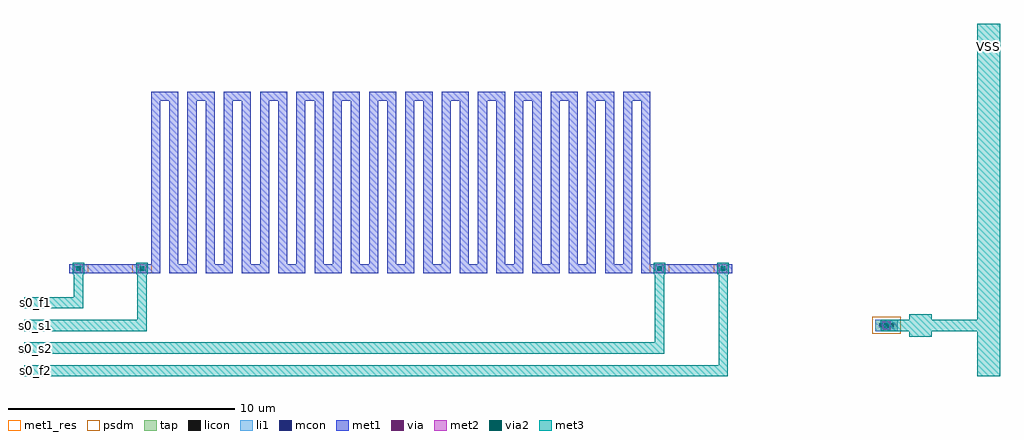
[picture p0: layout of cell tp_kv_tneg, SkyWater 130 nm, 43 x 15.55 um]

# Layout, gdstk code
import gdstk
lib = gdstk.Library(unit=1e-6, precision=1e-09)
def R(c, l, rs):  # rectangles x0, y0, x1, y1
    for r in rs: c.add(gdstk.rectangle(r[:2], r[2:], *l))
def A(c, l, x, y, w, h, nx, ny, dx, dy):  # array of equal rectangles
    R(c, l, [(x+i*dx, y+j*dy, x+i*dx+w, y+j*dy+h) for i in range(nx) for j in range(ny)])
tap = (65, 44)
licon = (66, 44)
li1 = (67, 20)
mcon = (67, 44)
met1_res = (68, 13)
met1 = (68, 20)
via = (68, 44)
met2 = (69, 20)
via2 = (69, 44)
met3 = (70, 20)
psdm = (94, 20)

tp_kv_m1_l = lib.new_cell('tp_kv_m1_l')
R(tp_kv_m1_l, tap, [(37.5,2,38.5,2.5)])
R(tp_kv_m1_l, licon, [(37.675,2.165,37.845,2.335), (38.155,2.165,38.325,2.335)])
R(tp_kv_m1_l, li1, [(37.5,2,38.5,2.5), (37.875,2.125,38.125,2.375)])
R(tp_kv_m1_l, mcon, [(37.915,2.165,38.085,2.335)])
A(tp_kv_m1_l, met1_res, 5.6, 4.55, 0.4, 8, 28, 1, 0.8, 0)
A(tp_kv_m1_l, met1_res, 6.8, 4.55, 0.4, 0.4, 13, 1, 1.6, 0)
A(tp_kv_m1_l, met1_res, 6, 12.15, 0.4, 0.4, 14, 1, 1.6, 0)
R(tp_kv_m1_l, met1_res, [(2.8,4.55,4.8,4.95), (28.4,4.55,30.4,4.95)])
A(tp_kv_m1_l, met1, 5.6, 4.55, 0.4, 8, 28, 1, 0.8, 0)
A(tp_kv_m1_l, met1, 6.8, 4.55, 0.4, 0.4, 13, 1, 1.6, 0)
A(tp_kv_m1_l, met1, 6, 12.15, 0.4, 0.4, 14, 1, 1.6, 0)
R(tp_kv_m1_l, met1, [(37.84,2.09,38.16,2.41), (37.85,2.1,38.15,2.4), (2,4.55,2.8,4.95), (2.8,4.55,4.8,4.95), (4.8,4.55,5.6,4.95), (27.6,4.55,28.4,4.95), (28.4,4.55,30.4,4.95), (30.4,4.55,31.2,4.95), (2.24,4.59,2.56,4.91), (5.04,4.59,5.36,4.91), (27.84,4.59,28.16,4.91), (30.64,4.59,30.96,4.91)])
R(tp_kv_m1_l, via, [(37.925,2.175,38.075,2.325), (2.325,4.675,2.475,4.825), (5.125,4.675,5.275,4.825), (27.925,4.675,28.075,4.825), (30.725,4.675,30.875,4.825)])
R(tp_kv_m1_l, met2, [(37.815,2.065,38.185,2.435), (37.84,2.09,38.16,2.41), (2.215,4.565,2.585,4.935), (5.015,4.565,5.385,4.935), (27.815,4.565,28.185,4.935), (30.615,4.565,30.985,4.935), (2.24,4.59,2.56,4.91), (5.04,4.59,5.36,4.91), (27.84,4.59,28.16,4.91), (30.64,4.59,30.96,4.91)])
R(tp_kv_m1_l, via2, [(37.9,2.15,38.1,2.35), (2.3,4.65,2.5,4.85), (5.1,4.65,5.3,4.85), (27.9,4.65,28.1,4.85), (30.7,4.65,30.9,4.85)])
A(tp_kv_m1_l, met3, 0, 0, 1, 0.5, 1, 4, 0, 1)
R(tp_kv_m1_l, met3, [(0,0,31,0.5), (30.6,0,31,4.75), (0,1,28.2,1.5), (27.8,1,28.2,4.75), (39,1.75,40,2.75), (0,2,5.4,2.5), (5,2,5.4,4.75), (37.75,2,38.25,2.5), (37.75,2,40,2.5), (0,3,2.6,3.5), (2.2,3,2.6,4.75), (2.15,4.5,2.65,5), (4.95,4.5,5.45,5), (27.75,4.5,28.25,5), (30.55,4.5,31.05,5)])
R(tp_kv_m1_l, psdm, [(37.375,1.875,38.625,2.625)])

tp_kv_tneg = lib.new_cell('tp_kv_tneg')
R(tp_kv_tneg, met3, [(42,0,43,15.55), (40,2,43,2.5)])
tp_kv_tneg.add(gdstk.Reference(tp_kv_m1_l, (0,0)))
tp_kv_tneg.add(gdstk.Label('s0_f1', (0.5,3.25), layer=70, texttype=5))
tp_kv_tneg.add(gdstk.Label('s0_s1', (0.5,2.25), layer=70, texttype=5))
tp_kv_tneg.add(gdstk.Label('s0_s2', (0.5,1.25), layer=70, texttype=5))
tp_kv_tneg.add(gdstk.Label('s0_f2', (0.5,0.25), layer=70, texttype=5))
tp_kv_tneg.add(gdstk.Label('VSS', (42.5,14.55), layer=70, texttype=5))

lib.write_gds('tp_kv_tneg.gds')
